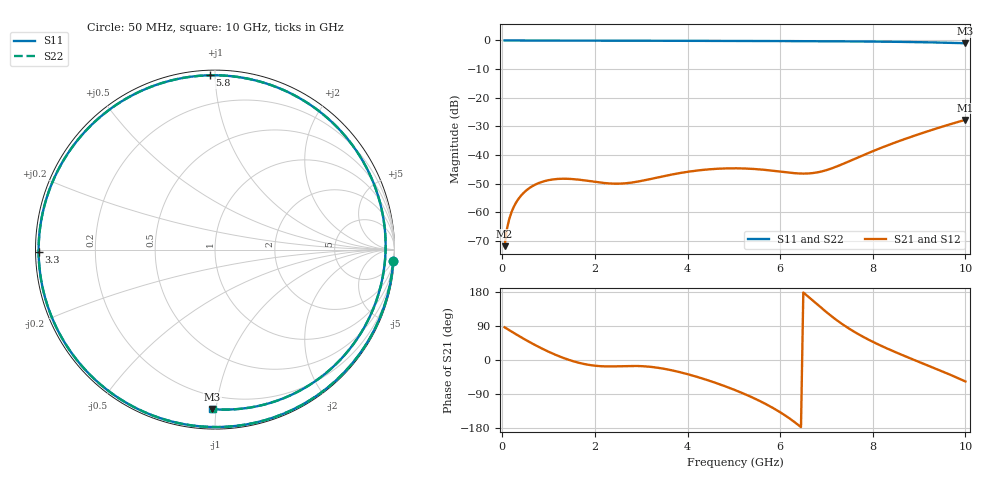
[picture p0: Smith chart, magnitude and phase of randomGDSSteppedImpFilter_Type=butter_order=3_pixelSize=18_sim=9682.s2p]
! freq	dB(S11)	phase(S11)	dB(S12)	phase(S12)
!  dB(S21)	phase(S21)	dB(S22)	phase(S22)
!S-par simulation data
#  GHz  S  DB  R 50
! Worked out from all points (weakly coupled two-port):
!   200 points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, 50 MHz to 10 GHz, reference 50 ohm
!   highest |S21| = -27.73 dB at 10 GHz (marker M1); lowest = -71.7 dB at 50 MHz (marker M2)
!   lowest |S11| = -1.0 dB at 10 GHz (marker M3), VSWR 16.98, Z = 5.77 - j48.8 ohm
!   |S11| at or under -10 dB: nowhere
!   |S22| runs from -1.0 to 0.0 dB; largest |S21 - S12| = 0
!   S11 on the Smith chart (normalised r, x): 50 MHz: 2, -31; 3.3 GHz: 0.01, -0.01; 5.8 GHz: 0.03, +0.97; 10 GHz: 0.12, -0.98
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0.05  -0.04 -3.7  -71.75 86.2  -71.75 86.2  -0.04 -3.7
0.1  -0.05 -7.5  -65.75 82.5  -65.75 82.5  -0.05 -7.4
0.2  -0.05 -14.9  -59.84 75.0  -59.84 75.0  -0.05 -14.9
0.35  -0.05 -25.9  -55.26 64.0  -55.26 64.0  -0.05 -25.9
0.5  -0.06 -36.8  -52.57 53.4  -52.57 53.4  -0.06 -36.8
0.8  -0.07 -57.5  -49.66 33.7  -49.66 33.7  -0.07 -57.6
1.1  -0.09 -76.8  -48.47 16.3  -48.47 16.3  -0.09 -76.8
1.4  -0.10 -94.5  -48.26 2.0  -48.26 2.0  -0.10 -94.5
1.75  -0.11 -113.3  -48.76 -10.1  -48.76 -10.1  -0.11 -113.3
2.5  -0.13 -147.8  -49.96 -16.6  -49.96 -16.6  -0.13 -147.9
3.3  -0.15 -179.2  -47.99 -19.5  -47.99 -19.5  -0.15 -179.2
3.4  -0.15 177.1  -47.64 -21.2  -47.64 -21.2  -0.15 177.1
4.2  -0.18 148.6  -45.40 -44.3  -45.40 -44.3  -0.18 148.6
5.05  -0.21 118.7  -44.61 -80.6  -44.61 -80.6  -0.21 118.8
5.8  -0.25 91.6  -45.38 -123.5  -45.38 -123.5  -0.25 91.7
6.7  -0.30 57.1  -46.28 157.5  -46.28 157.5  -0.30 57.2
7.6  -0.38 20.3  -41.39 74.5  -41.39 74.5  -0.38 20.5
8.35  -0.49 -12.0  -36.42 28.1  -36.42 28.1  -0.49 -11.8
8.8  -0.58 -32.2  -33.79 4.9  -33.79 4.9  -0.58 -32.0
9.25  -0.71 -53.1  -31.37 -17.5  -31.37 -17.5  -0.71 -52.9
9.65  -0.86 -72.7  -29.35 -37.7  -29.35 -37.7  -0.86 -72.5
10  -1.02 -91.0  -27.73 -56.6  -27.73 -56.6  -1.02 -90.7
